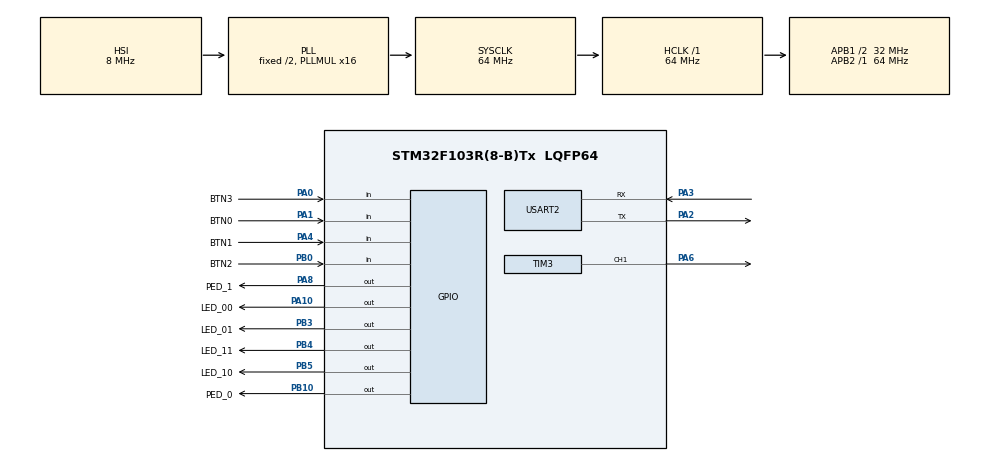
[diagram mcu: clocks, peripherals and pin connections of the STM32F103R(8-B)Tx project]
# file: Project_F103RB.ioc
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Mcu.Family=STM32F1
Mcu.Name=STM32F103R(8-B)Tx
Mcu.Package=LQFP64
NVIC.PriorityGroup=NVIC_PRIORITYGROUP_4
NVIC.TIM2_IRQn=true\:0\:0\:false\:false\:true\:true\:true
NVIC.USART2_IRQn=true\:0\:0\:false\:false\:true\:true\:true
PA0-WKUP.GPIO_Label=BTN3
PA0-WKUP.GPIO_PuPd=GPIO_PULLUP
PA0-WKUP.Signal=GPIO_Input
PA1.GPIO_Label=BTN0
PA1.GPIO_PuPd=GPIO_PULLUP
PA1.Signal=GPIO_Input
PA10.GPIO_Label=LED_00
PA10.PinState=GPIO_PIN_RESET
PA10.Signal=GPIO_Output
PA13.Mode=Serial_Wire
PA13.Signal=SYS_JTMS-SWDIO
PA14.Mode=Serial_Wire
PA14.Signal=SYS_JTCK-SWCLK
PA2.Mode=Asynchronous
PA2.Signal=USART2_TX
PA3.Mode=Asynchronous
PA3.Signal=USART2_RX
PA4.GPIO_Label=BTN1
PA4.GPIO_PuPd=GPIO_PULLUP
PA4.Signal=GPIO_Input
PA6.Signal=S_TIM3_CH1
PA8.GPIO_Label=PED_1
PA8.Signal=GPIO_Output
PB0.GPIO_Label=BTN2
PB0.GPIO_PuPd=GPIO_PULLUP
PB0.Signal=GPIO_Input
PB10.GPIO_Label=PED_0
PB10.Signal=GPIO_Output
PB3.GPIO_Label=LED_01
PB3.PinState=GPIO_PIN_RESET
PB3.Signal=GPIO_Output
PB4.GPIO_Label=LED_11
PB4.PinState=GPIO_PIN_RESET
PB4.Signal=GPIO_Output
PB5.GPIO_Label=LED_10
PB5.PinState=GPIO_PIN_RESET
PB5.Signal=GPIO_Output
ProjectManager.HeapSize=0x200
ProjectManager.StackSize=0x400
ProjectManager.TargetToolchain=STM32CubeIDE
RCC.AHBFreq_Value=64000000
RCC.APB1CLKDivider=RCC_HCLK_DIV2
RCC.APB1Freq_Value=32000000
RCC.APB1TimFreq_Value=64000000
RCC.APB2Freq_Value=64000000
RCC.APB2TimFreq_Value=64000000
RCC.HCLKFreq_Value=64000000
RCC.PLLMUL=RCC_PLL_MUL16
RCC.SYSCLKFreq_VALUE=64000000
RCC.SYSCLKSource=RCC_SYSCLKSOURCE_PLLCLK
RCC.USBFreq_Value=64000000
SH.S_TIM3_CH1.0=TIM3_CH1,PWM Generation1 CH1
TIM2.Period=79
TIM2.Prescaler=7999
TIM3.Channel-PWM\ Generation1\ CH1=TIM_CHANNEL_1
TIM3.Period=79
TIM3.Prescaler=79
USART2.VirtualMode=VM_ASYNC
VP_TIM2_VS_ClockSourceINT.Mode=Internal
VP_TIM3_VS_ClockSourceINT.Mode=Internal
board=custom

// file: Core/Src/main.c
;/* USER CODE BEGIN Header */
/**
  ******************************************************************************
  * @file           : main.c
  * @brief          : Main program body
  ******************************************************************************
  * @attention
  *
  * <h2><center>&copy; Copyright (c) 2023 STMicroelectronics.
  * All rights reserved.</center></h2>
  *
  * This software component is licensed by ST under BSD 3-Clause license,
  * the "License"; You may not use this file except in compliance with the
  * License. You may obtain a copy of the License at:
  *                        opensource.org/licenses/BSD-3-Clause
  *
  ******************************************************************************
  */
/* USER CODE END Header */
#include "main.h"

/* USER CODE BEGIN Includes */
#include "fsm_auto.h"
#include "fsm_tuning.h"
#include "fsm_pedestrian.h"
#include "software_timer.h"
#include "led_control.h"
#include "button.h"
#include "scheduler.h"
/* USER CODE END Includes */

TIM_HandleTypeDef htim2;
TIM_HandleTypeDef htim3;

UART_HandleTypeDef huart2;

void SystemClock_Config(void);
static void MX_GPIO_Init(void);
static void MX_TIM2_Init(void);
static void MX_TIM3_Init(void);
static void MX_USART2_UART_Init(void);

int main(void)
{

  /* MCU Configuration--------------------------------------------------------*/

  /* Reset of all peripherals, Initializes the Flash interface and the Systick. */
  HAL_Init();

  /* Configure the system clock */
  SystemClock_Config();

  /* Initialize all configured peripherals */
  MX_GPIO_Init();
  MX_TIM2_Init();
  MX_TIM3_Init();
  MX_USART2_UART_Init();

  /* USER CODE BEGIN 2 */

  HAL_TIM_Base_Start_IT(&htim2);
  HAL_TIM_PWM_Start(&htim3, TIM_CHANNEL_1);
//  HAL_UART_Receive_IT(&huart2, &temp, 1)
  setTimer(0, 23);
//  setTimer(3, 10);
  /* USER CODE END 2 */

  /* Infinite loop */
  /* USER CODE BEGIN WHILE */
  SCH_Add_Task(&fsm_auto, 0, 10);
  SCH_Add_Task(&fsm_pedestrian, 0, 10);
  SCH_Add_Task(&fsm_manual, 0, 20);
  SCH_Add_Task(&fsm_tuning, 0, 20);
  SCH_Add_Task(&timerRun, 0, 10);
  SCH_Add_Task(&getKeyInput, 0, 10);

//  int i = 50;
  while (1)
  {
	  SCH_Dispatch_Tasks();
//	  fsm_auto();
//	  fsm_pedestrian();
//	  pedRed();
//	  pedGreen();
//	  HAL_Delay(1000);
    /* USER CODE END WHILE */

  }
}

void SystemClock_Config(void)
{
  RCC_OscInitTypeDef RCC_OscInitStruct = {0};
  RCC_ClkInitTypeDef RCC_ClkInitStruct = {0};

  /** Initializes the RCC Oscillators according to the specified parameters
  * in the RCC_OscInitTypeDef structure.
  */
  RCC_OscInitStruct.OscillatorType = RCC_OSCILLATORTYPE_HSI;
  RCC_OscInitStruct.HSIState = RCC_HSI_ON;
  RCC_OscInitStruct.HSICalibrationValue = RCC_HSICALIBRATION_DEFAULT;
  RCC_OscInitStruct.PLL.PLLState = RCC_PLL_ON;
  RCC_OscInitStruct.PLL.PLLSource = RCC_PLLSOURCE_HSI_DIV2;
  RCC_OscInitStruct.PLL.PLLMUL = RCC_PLL_MUL16;
  if (HAL_RCC_OscConfig(&RCC_OscInitStruct) != HAL_OK)
  {
    Error_Handler();
  }
  /** Initializes the CPU, AHB and APB buses clocks
  */
  RCC_ClkInitStruct.ClockType = RCC_CLOCKTYPE_HCLK|RCC_CLOCKTYPE_SYSCLK
                              |RCC_CLOCKTYPE_PCLK1|RCC_CLOCKTYPE_PCLK2;
  RCC_ClkInitStruct.SYSCLKSource = RCC_SYSCLKSOURCE_PLLCLK;
  RCC_ClkInitStruct.AHBCLKDivider = RCC_SYSCLK_DIV1;
  RCC_ClkInitStruct.APB1CLKDivider = RCC_HCLK_DIV2;
  RCC_ClkInitStruct.APB2CLKDivider = RCC_HCLK_DIV1;

  if (HAL_RCC_ClockConfig(&RCC_ClkInitStruct, FLASH_LATENCY_2) != HAL_OK)
  {
    Error_Handler();
  }
}

static void MX_TIM2_Init(void)
{

  TIM_ClockConfigTypeDef sClockSourceConfig = {0};
  TIM_MasterConfigTypeDef sMasterConfig = {0};

  htim2.Instance = TIM2;
  htim2.Init.Prescaler = 7999;
  htim2.Init.CounterMode = TIM_COUNTERMODE_UP;
  htim2.Init.Period = 79;
  htim2.Init.ClockDivision = TIM_CLOCKDIVISION_DIV1;
  htim2.Init.AutoReloadPreload = TIM_AUTORELOAD_PRELOAD_DISABLE;
  if (HAL_TIM_Base_Init(&htim2) != HAL_OK)
  {
    Error_Handler();
  }
  sClockSourceConfig.ClockSource = TIM_CLOCKSOURCE_INTERNAL;
  if (HAL_TIM_ConfigClockSource(&htim2, &sClockSourceConfig) != HAL_OK)
  {
    Error_Handler();
  }
  sMasterConfig.MasterOutputTrigger = TIM_TRGO_RESET;
  sMasterConfig.MasterSlaveMode = TIM_MASTERSLAVEMODE_DISABLE;
  if (HAL_TIMEx_MasterConfigSynchronization(&htim2, &sMasterConfig) != HAL_OK)
  {
    Error_Handler();
  }

}

static void MX_TIM3_Init(void)
{

  TIM_ClockConfigTypeDef sClockSourceConfig = {0};
  TIM_MasterConfigTypeDef sMasterConfig = {0};
  TIM_OC_InitTypeDef sConfigOC = {0};

  htim3.Instance = TIM3;
  htim3.Init.Prescaler = 79;
  htim3.Init.CounterMode = TIM_COUNTERMODE_UP;
  htim3.Init.Period = 79;
  htim3.Init.ClockDivision = TIM_CLOCKDIVISION_DIV1;
  htim3.Init.AutoReloadPreload = TIM_AUTORELOAD_PRELOAD_DISABLE;
  if (HAL_TIM_Base_Init(&htim3) != HAL_OK)
  {
    Error_Handler();
  }
  sClockSourceConfig.ClockSource = TIM_CLOCKSOURCE_INTERNAL;
  if (HAL_TIM_ConfigClockSource(&htim3, &sClockSourceConfig) != HAL_OK)
  {
    Error_Handler();
  }
  if (HAL_TIM_PWM_Init(&htim3) != HAL_OK)
  {
    Error_Handler();
  }
  sMasterConfig.MasterOutputTrigger = TIM_TRGO_RESET;
  sMasterConfig.MasterSlaveMode = TIM_MASTERSLAVEMODE_DISABLE;
  if (HAL_TIMEx_MasterConfigSynchronization(&htim3, &sMasterConfig) != HAL_OK)
  {
    Error_Handler();
  }
  sConfigOC.OCMode = TIM_OCMODE_PWM1;
  sConfigOC.Pulse = 0;
  sConfigOC.OCPolarity = TIM_OCPOLARITY_HIGH;
  sConfigOC.OCFastMode = TIM_OCFAST_DISABLE;
  if (HAL_TIM_PWM_ConfigChannel(&htim3, &sConfigOC, TIM_CHANNEL_1) != HAL_OK)
  {
    Error_Handler();
  }
  HAL_TIM_MspPostInit(&htim3);

}

static void MX_USART2_UART_Init(void)
{

  huart2.Instance = USART2;
  huart2.Init.BaudRate = 115200;
  huart2.Init.WordLength = UART_WORDLENGTH_8B;
  huart2.Init.StopBits = UART_STOPBITS_1;
  huart2.Init.Parity = UART_PARITY_NONE;
  huart2.Init.Mode = UART_MODE_TX_RX;
  huart2.Init.HwFlowCtl = UART_HWCONTROL_NONE;
  huart2.Init.OverSampling = UART_OVERSAMPLING_16;
  if (HAL_UART_Init(&huart2) != HAL_OK)
  {
    Error_Handler();
  }

}

static void MX_GPIO_Init(void)
{
  GPIO_InitTypeDef GPIO_InitStruct = {0};

  /* GPIO Ports Clock Enable */
  __HAL_RCC_GPIOA_CLK_ENABLE();
  __HAL_RCC_GPIOB_CLK_ENABLE();

  /*Configure GPIO pin Output Level */
  HAL_GPIO_WritePin(GPIOB, PED_0_Pin|LED_01_Pin|LED_11_Pin|LED_10_Pin, GPIO_PIN_RESET);

  /*Configure GPIO pin Output Level */
  HAL_GPIO_WritePin(GPIOA, PED_1_Pin|LED_00_Pin, GPIO_PIN_RESET);

  /*Configure GPIO pins : BTN3_Pin BTN0_Pin BTN1_Pin */
  GPIO_InitStruct.Pin = BTN3_Pin|BTN0_Pin|BTN1_Pin;
  GPIO_InitStruct.Mode = GPIO_MODE_INPUT;
  GPIO_InitStruct.Pull = GPIO_PULLUP;
  HAL_GPIO_Init(GPIOA, &GPIO_InitStruct);

  /*Configure GPIO pin : BTN2_Pin */
  GPIO_InitStruct.Pin = BTN2_Pin;
  GPIO_InitStruct.Mode = GPIO_MODE_INPUT;
  GPIO_InitStruct.Pull = GPIO_PULLUP;
  HAL_GPIO_Init(BTN2_GPIO_Port, &GPIO_InitStruct);

  /*Configure GPIO pins : PED_0_Pin LED_01_Pin LED_11_Pin LED_10_Pin */
  GPIO_InitStruct.Pin = PED_0_Pin|LED_01_Pin|LED_11_Pin|LED_10_Pin;
  GPIO_InitStruct.Mode = GPIO_MODE_OUTPUT_PP;
  GPIO_InitStruct.Pull = GPIO_NOPULL;
  GPIO_InitStruct.Speed = GPIO_SPEED_FREQ_LOW;
  HAL_GPIO_Init(GPIOB, &GPIO_InitStruct);

  /*Configure GPIO pins : PED_1_Pin LED_00_Pin */
  GPIO_InitStruct.Pin = PED_1_Pin|LED_00_Pin;
  GPIO_InitStruct.Mode = GPIO_MODE_OUTPUT_PP;
  GPIO_InitStruct.Pull = GPIO_NOPULL;
  GPIO_InitStruct.Speed = GPIO_SPEED_FREQ_LOW;
  HAL_GPIO_Init(GPIOA, &GPIO_InitStruct);

}

/* USER CODE BEGIN 4 */
void HAL_TIM_PeriodElapsedCallback(TIM_HandleTypeDef *htim){
	SCH_Update();
//	timerRun();
//	getKeyInput();
}
/* USER CODE END 4 */

void Error_Handler(void)
{
  __disable_irq();
  while (1)
  {
  }
}

/************************ (C) COPYRIGHT STMicroelectronics *****END OF FILE****/
